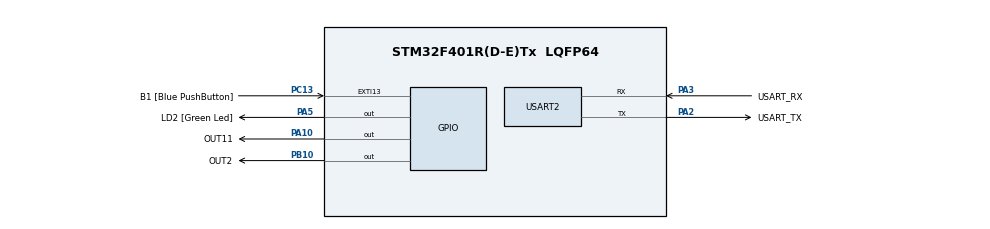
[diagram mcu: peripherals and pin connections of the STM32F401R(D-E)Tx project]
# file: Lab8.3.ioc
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Mcu.Family=STM32F4
Mcu.Name=STM32F401R(D-E)Tx
Mcu.Package=LQFP64
NVIC.PriorityGroup=NVIC_PRIORITYGROUP_4
PA10.GPIO_Label=OUT11
PA10.Signal=GPIO_Output
PA13.GPIO_Label=TMS
PA13.Mode=Trace_Asynchronous_SW
PA13.Signal=SYS_JTMS-SWDIO
PA14.GPIO_Label=TCK
PA14.Mode=Trace_Asynchronous_SW
PA14.Signal=SYS_JTCK-SWCLK
PA2.GPIO_Label=USART_TX
PA2.GPIO_Mode=GPIO_MODE_AF_PP
PA2.GPIO_PuPd=GPIO_NOPULL
PA2.GPIO_Speed=GPIO_SPEED_FREQ_LOW
PA2.Mode=Asynchronous
PA2.Signal=USART2_TX
PA3.GPIO_Label=USART_RX
PA3.GPIO_Mode=GPIO_MODE_AF_PP
PA3.GPIO_PuPd=GPIO_NOPULL
PA3.GPIO_Speed=GPIO_SPEED_FREQ_LOW
PA3.Mode=Asynchronous
PA3.Signal=USART2_RX
PA5.GPIO_Label=LD2 [Green Led]
PA5.GPIO_Mode=GPIO_MODE_OUTPUT_PP
PA5.GPIO_PuPd=GPIO_NOPULL
PA5.GPIO_Speed=GPIO_SPEED_FREQ_LOW
PA5.Signal=GPIO_Output
PB10.GPIO_Label=OUT2
PB10.Signal=GPIO_Output
PB3.GPIO_Label=SWO
PB3.Mode=Trace_Asynchronous_SW
PB3.Signal=SYS_JTDO-SWO
PC13-ANTI_TAMP.GPIO_Label=B1 [Blue PushButton]
PC13-ANTI_TAMP.GPIO_ModeDefaultEXTI=GPIO_MODE_IT_FALLING
PC13-ANTI_TAMP.GPIO_PuPd=GPIO_NOPULL
PC13-ANTI_TAMP.Signal=GPXTI13
PC14-OSC32_IN.Mode=LSE-External-Oscillator
PC14-OSC32_IN.Signal=RCC_OSC32_IN
PC15-OSC32_OUT.Mode=LSE-External-Oscillator
PC15-OSC32_OUT.Signal=RCC_OSC32_OUT
PH0\ -\ OSC_IN.Mode=HSE-External-Clock-Source
PH0\ -\ OSC_IN.Signal=RCC_OSC_IN
PH1\ -\ OSC_OUT.Mode=HSE-External-Clock-Source
PH1\ -\ OSC_OUT.Signal=RCC_OSC_OUT
ProjectManager.HeapSize=0x200
ProjectManager.StackSize=0x400
ProjectManager.TargetToolchain=STM32CubeIDE
RCC.48MHZClocksFreq_Value=14285714.285714285
RCC.AHBFreq_Value=50000000
RCC.APB1CLKDivider=RCC_HCLK_DIV2
RCC.APB1Freq_Value=25000000
RCC.APB1TimFreq_Value=50000000
RCC.APB2CLKDivider=RCC_HCLK_DIV2
RCC.APB2Freq_Value=25000000
RCC.APB2TimFreq_Value=50000000
RCC.CortexFreq_Value=50000000
RCC.HCLKFreq_Value=50000000
RCC.HSE_VALUE=8000000
RCC.HSI_VALUE=16000000
RCC.PLLM=8
RCC.PLLN=50
RCC.PLLQ=7
RCC.SYSCLKFreq_VALUE=50000000
RCC.SYSCLKSource=RCC_SYSCLKSOURCE_PLLCLK
RCC.VCOOutputFreq_Value=100000000
TIM3.Channel-Output\ Compare1\ No\ Output=TIM_CHANNEL_1
TIM3.Channel-Output\ Compare2\ No\ Output=TIM_CHANNEL_2
USART2.VirtualMode=VM_ASYNC
VP_TIM3_VS_ClockSourceINT.Mode=Internal
VP_TIM3_VS_no_output1.Mode=Output Compare1 No Output
VP_TIM3_VS_no_output2.Mode=Output Compare2 No Output
board=NUCLEO-F401RE

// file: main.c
/* USER CODE BEGIN Header */
/**
 ******************************************************************************
 * @file           : main.c
 * @brief          : Main program body
 ******************************************************************************
 * @attention
 *
 * Copyright (c) 2025 STMicroelectronics.
 * All rights reserved.
 *
 * This software is licensed under terms that can be found in the LICENSE file
 * in the root directory of this software component.
 * If no LICENSE file comes with this software, it is provided AS-IS.
 *
 ******************************************************************************
 */
/* USER CODE END Header */
#include "main.h"

/* USER CODE BEGIN PD */
#define INCREMENT1 1000
#define INCREMENT2 200
/* USER CODE END PD */

void SystemClock_Config(void);
static void MX_GPIO_Init(void);
static void MX_USART2_UART_Init(void);
static void MX_TIM3_Init(void);

int main(void) {

	/* MCU Configuration--------------------------------------------------------*/

	/* Reset of all peripherals, Initializes the Flash interface and the Systick. */
	LL_APB2_GRP1_EnableClock(LL_APB2_GRP1_PERIPH_SYSCFG);
	LL_APB1_GRP1_EnableClock(LL_APB1_GRP1_PERIPH_PWR);

	/* System interrupt init*/
	NVIC_SetPriorityGrouping(NVIC_PRIORITYGROUP_4);

	/* Configure the system clock */
	SystemClock_Config();

	/* Initialize all configured peripherals */
	MX_GPIO_Init();
	MX_USART2_UART_Init();
	MX_TIM3_Init();
	/* USER CODE BEGIN 2 */
	LL_DBGMCU_APB1_GRP1_FreezePeriph(LL_DBGMCU_APB1_GRP1_TIM3_STOP);

	//LL_TIM_WriteReg(TIM3, PSC, 0x2328);			// 9000 in decimal (uncomment to test application if no scope is available)
	LL_TIM_WriteReg(TIM3, PSC, 0x0009);			// 9 in decimal
	LL_TIM_WriteReg(TIM3, ARR, 0xFFFF);			// 999 in decimal
	LL_TIM_WriteReg(TIM3, CCR1, INCREMENT1 -1);			// 999 in decimal
	LL_TIM_WriteReg(TIM3, CCR2, INCREMENT2 -1);			// 199 in decimal
	LL_TIM_WriteReg(TIM3, CCMR1,
			LL_TIM_ReadReg(TIM3, CCMR1) | 0b1011000010110000);
	LL_TIM_WriteReg(TIM3, CR1, LL_TIM_ReadReg(TIM3,CR1) | 0x01); // Enable timer
	/* USER CODE END 2 */

	/* Infinite loop */
	/* USER CODE BEGIN WHILE */
	SysTick_Config(SystemCoreClock / 1000);
	while (1) {

		// Test for OC1 (=999)
		if (LL_TIM_ReadReg(TIM3, SR) & 0x02) {
			LL_GPIO_WriteReg(GPIOA, ODR, LL_GPIO_ReadReg(GPIOA,ODR) ^ 0x0400);// Toggle PA10
			LL_TIM_WriteReg(TIM3, CCR1, LL_TIM_ReadReg(TIM3, CCR1) + INCREMENT1);
			LL_TIM_WriteReg(TIM3, SR, LL_TIM_ReadReg(TIM3,SR) & (~0x02));// Reset interrupt flag OC1
		}
		// Test for OC2 (=249)
		if (LL_TIM_ReadReg(TIM3, SR) & 0x04) {
			LL_GPIO_WriteReg(GPIOB, ODR, LL_GPIO_ReadReg(GPIOB,ODR) ^ 0x0400);// Toggle PB10
			LL_TIM_WriteReg(TIM3, CCR2, LL_TIM_ReadReg(TIM3, CCR2) + INCREMENT2);
			LL_TIM_WriteReg(TIM3, SR, LL_TIM_ReadReg(TIM3,SR) & (~0x04));// Reset interrupt flag OC2

		}

		/* If no scope is available, test application with LED on PA5
		 if (LL_TIM_ReadReg(TIM3, SR) & 0x04){
		 LL_GPIO_WriteReg(GPIOA,ODR,LL_GPIO_ReadReg(GPIOA,ODR) ^ 0x020);	// Toggle PA5
		 LL_TIM_WriteReg(TIM3, SR,LL_TIM_ReadReg(TIM3,SR) & (~0x04));		// Reset interrupt flag OC2
		 }
		 */

		/* USER CODE END WHILE */

	}
}

void SystemClock_Config(void) {
	LL_FLASH_SetLatency(LL_FLASH_LATENCY_1);
	while (LL_FLASH_GetLatency() != LL_FLASH_LATENCY_1) {
	}
	LL_PWR_SetRegulVoltageScaling(LL_PWR_REGU_VOLTAGE_SCALE2);
	LL_RCC_HSI_SetCalibTrimming(16);
	LL_RCC_HSI_Enable();

	/* Wait till HSI is ready */
	while (LL_RCC_HSI_IsReady() != 1) {

	}
	LL_RCC_PLL_ConfigDomain_SYS(LL_RCC_PLLSOURCE_HSI, LL_RCC_PLLM_DIV_8, 50,
	LL_RCC_PLLP_DIV_2);
	LL_RCC_PLL_Enable();

	/* Wait till PLL is ready */
	while (LL_RCC_PLL_IsReady() != 1) {

	}
	while (LL_PWR_IsActiveFlag_VOS() == 0) {
	}
	LL_RCC_SetAHBPrescaler(LL_RCC_SYSCLK_DIV_1);
	LL_RCC_SetAPB1Prescaler(LL_RCC_APB1_DIV_2);
	LL_RCC_SetAPB2Prescaler(LL_RCC_APB2_DIV_2);
	LL_RCC_SetSysClkSource(LL_RCC_SYS_CLKSOURCE_PLL);

	/* Wait till System clock is ready */
	while (LL_RCC_GetSysClkSource() != LL_RCC_SYS_CLKSOURCE_STATUS_PLL) {

	}
	LL_Init1msTick(50000000);
	LL_SetSystemCoreClock(50000000);
	LL_RCC_SetTIMPrescaler(LL_RCC_TIM_PRESCALER_TWICE);
}

static void MX_TIM3_Init(void) {

	LL_TIM_InitTypeDef TIM_InitStruct = { 0 };
	LL_TIM_OC_InitTypeDef TIM_OC_InitStruct = { 0 };

	/* Peripheral clock enable */
	LL_APB1_GRP1_EnableClock(LL_APB1_GRP1_PERIPH_TIM3);

	TIM_InitStruct.Prescaler = 0;
	TIM_InitStruct.CounterMode = LL_TIM_COUNTERMODE_UP;
	TIM_InitStruct.Autoreload = 65535;
	TIM_InitStruct.ClockDivision = LL_TIM_CLOCKDIVISION_DIV1;
	LL_TIM_Init(TIM3, &TIM_InitStruct);
	LL_TIM_DisableARRPreload(TIM3);
	LL_TIM_SetClockSource(TIM3, LL_TIM_CLOCKSOURCE_INTERNAL);
	TIM_OC_InitStruct.OCMode = LL_TIM_OCMODE_FROZEN;
	TIM_OC_InitStruct.OCState = LL_TIM_OCSTATE_DISABLE;
	TIM_OC_InitStruct.OCNState = LL_TIM_OCSTATE_DISABLE;
	TIM_OC_InitStruct.CompareValue = 0;
	TIM_OC_InitStruct.OCPolarity = LL_TIM_OCPOLARITY_HIGH;
	LL_TIM_OC_Init(TIM3, LL_TIM_CHANNEL_CH1, &TIM_OC_InitStruct);
	LL_TIM_OC_DisableFast(TIM3, LL_TIM_CHANNEL_CH1);
	LL_TIM_OC_Init(TIM3, LL_TIM_CHANNEL_CH2, &TIM_OC_InitStruct);
	LL_TIM_OC_DisableFast(TIM3, LL_TIM_CHANNEL_CH2);
	LL_TIM_SetTriggerOutput(TIM3, LL_TIM_TRGO_RESET);
	LL_TIM_DisableMasterSlaveMode(TIM3);

}

static void MX_USART2_UART_Init(void) {

	LL_USART_InitTypeDef USART_InitStruct = { 0 };

	LL_GPIO_InitTypeDef GPIO_InitStruct = { 0 };

	/* Peripheral clock enable */
	LL_APB1_GRP1_EnableClock(LL_APB1_GRP1_PERIPH_USART2);

	LL_AHB1_GRP1_EnableClock(LL_AHB1_GRP1_PERIPH_GPIOA);
	/**USART2 GPIO Configuration
	 PA2   ------> USART2_TX
	 PA3   ------> USART2_RX
	 */
	GPIO_InitStruct.Pin = USART_TX_Pin | USART_RX_Pin;
	GPIO_InitStruct.Mode = LL_GPIO_MODE_ALTERNATE;
	GPIO_InitStruct.Speed = LL_GPIO_SPEED_FREQ_LOW;
	GPIO_InitStruct.OutputType = LL_GPIO_OUTPUT_PUSHPULL;
	GPIO_InitStruct.Pull = LL_GPIO_PULL_NO;
	GPIO_InitStruct.Alternate = LL_GPIO_AF_7;
	LL_GPIO_Init(GPIOA, &GPIO_InitStruct);

	USART_InitStruct.BaudRate = 115200;
	USART_InitStruct.DataWidth = LL_USART_DATAWIDTH_8B;
	USART_InitStruct.StopBits = LL_USART_STOPBITS_1;
	USART_InitStruct.Parity = LL_USART_PARITY_NONE;
	USART_InitStruct.TransferDirection = LL_USART_DIRECTION_TX_RX;
	USART_InitStruct.HardwareFlowControl = LL_USART_HWCONTROL_NONE;
	USART_InitStruct.OverSampling = LL_USART_OVERSAMPLING_16;
	LL_USART_Init(USART2, &USART_InitStruct);
	LL_USART_ConfigAsyncMode(USART2);
	LL_USART_Enable(USART2);

}

static void MX_GPIO_Init(void) {
	LL_EXTI_InitTypeDef EXTI_InitStruct = { 0 };
	LL_GPIO_InitTypeDef GPIO_InitStruct = { 0 };

	/* GPIO Ports Clock Enable */
	LL_AHB1_GRP1_EnableClock(LL_AHB1_GRP1_PERIPH_GPIOC);
	LL_AHB1_GRP1_EnableClock(LL_AHB1_GRP1_PERIPH_GPIOH);
	LL_AHB1_GRP1_EnableClock(LL_AHB1_GRP1_PERIPH_GPIOA);
	LL_AHB1_GRP1_EnableClock(LL_AHB1_GRP1_PERIPH_GPIOB);

	/**/
	LL_GPIO_ResetOutputPin(GPIOA, LD2_Pin | OUT11_Pin);

	/**/
	LL_GPIO_ResetOutputPin(OUT2_GPIO_Port, OUT2_Pin);

	/**/
	LL_SYSCFG_SetEXTISource(LL_SYSCFG_EXTI_PORTC, LL_SYSCFG_EXTI_LINE13);

	/**/
	EXTI_InitStruct.Line_0_31 = LL_EXTI_LINE_13;
	EXTI_InitStruct.LineCommand = ENABLE;
	EXTI_InitStruct.Mode = LL_EXTI_MODE_IT;
	EXTI_InitStruct.Trigger = LL_EXTI_TRIGGER_FALLING;
	LL_EXTI_Init(&EXTI_InitStruct);

	/**/
	LL_GPIO_SetPinPull(B1_GPIO_Port, B1_Pin, LL_GPIO_PULL_NO);

	/**/
	LL_GPIO_SetPinMode(B1_GPIO_Port, B1_Pin, LL_GPIO_MODE_INPUT);

	/**/
	GPIO_InitStruct.Pin = LD2_Pin | OUT11_Pin;
	GPIO_InitStruct.Mode = LL_GPIO_MODE_OUTPUT;
	GPIO_InitStruct.Speed = LL_GPIO_SPEED_FREQ_LOW;
	GPIO_InitStruct.OutputType = LL_GPIO_OUTPUT_PUSHPULL;
	GPIO_InitStruct.Pull = LL_GPIO_PULL_NO;
	LL_GPIO_Init(GPIOA, &GPIO_InitStruct);

	/**/
	GPIO_InitStruct.Pin = OUT2_Pin;
	GPIO_InitStruct.Mode = LL_GPIO_MODE_OUTPUT;
	GPIO_InitStruct.Speed = LL_GPIO_SPEED_FREQ_LOW;
	GPIO_InitStruct.OutputType = LL_GPIO_OUTPUT_PUSHPULL;
	GPIO_InitStruct.Pull = LL_GPIO_PULL_NO;
	LL_GPIO_Init(OUT2_GPIO_Port, &GPIO_InitStruct);

}

void Error_Handler(void) {
	__disable_irq();
	while (1) {
	}
}
